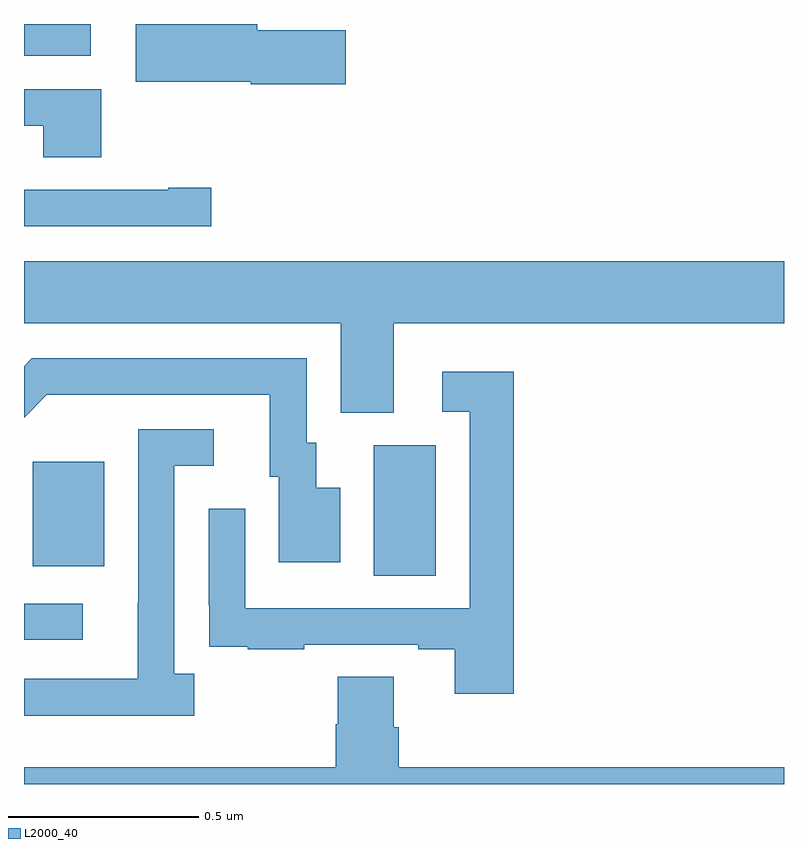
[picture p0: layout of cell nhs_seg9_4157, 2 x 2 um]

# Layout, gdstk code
import gdstk
lib = gdstk.Library(unit=1e-6, precision=1e-09)
def R(c, l, rs):  # rectangles x0, y0, x1, y1
    for r in rs: c.add(gdstk.rectangle(r[:2], r[2:], *l))
def P(c, l, *ps):  # polygons
    for p in ps: c.add(gdstk.Polygon(p, *l))
L2000_40 = (2000, 40)

nhs_seg9_4157 = lib.new_cell('nhs_seg9_4157')
R(nhs_seg9_4157, L2000_40, [(162,1236.879,162.154,1236.975), (162.92,1237.048,163.084,1237.392), (162.023,1237.073,162.211,1237.348), (162,1238.417,162.175,1238.5)])
P(nhs_seg9_4157, L2000_40, [(162.847,1238.483),(162.614,1238.483),(162.614,1238.5),(162.294,1238.5),(162.294,1238.348),(162.597,1238.348),(162.597,1238.341),(162.847,1238.341)],
  [(162.203,1238.328),(162,1238.328),(162,1238.232),(162.05,1238.232),(162.05,1238.149),(162.203,1238.149)],
  [(162.493,1238.069),(162.38,1238.069),(162.38,1238.064),(162,1238.064),(162,1237.968),(162.493,1237.968)],
  [(162.973,1237.712),(164,1237.712),(164,1237.876),(162,1237.876),(162,1237.712),(162.833,1237.712),(162.833,1237.477),(162.973,1237.477)],
  [(162.832,1237.279),(162.769,1237.279),(162.769,1237.398),(162.744,1237.398),(162.744,1237.62),(162.02,1237.62),(162,1237.6),(162,1237.464),(162.06,1237.524),(162.647,1237.524),(162.647,1237.308),(162.671,1237.308),(162.671,1237.083),(162.832,1237.083)],
  [(163.289,1237.585),(163.101,1237.585),(163.101,1237.479),(163.173,1237.479),(163.173,1236.963),(162.582,1236.963),(162.582,1237.225),(162.486,1237.225),(162.486,1236.97),(162.487,1236.97),(162.487,1236.861),(162.589,1236.861),(162.589,1236.855),(162.737,1236.855),(162.737,1236.867),(163.037,1236.867),(163.037,1236.855),(163.133,1236.855),(163.133,1236.738),(163.289,1236.738)],
  [(162.448,1236.79),(162.396,1236.79),(162.396,1237.338),(162.499,1237.338),(162.499,1237.434),(162.3,1237.434),(162.3,1236.977),(162.299,1236.977),(162.299,1236.777),(162,1236.777),(162,1236.68),(162.448,1236.68)],
  [(164,1236.544),(162.986,1236.544),(162.986,1236.65),(162.973,1236.65),(162.973,1236.782),(162.826,1236.782),(162.826,1236.657),(162.821,1236.657),(162.821,1236.544),(162,1236.544),(162,1236.5),(164,1236.5)])

lib.write_gds('nhs_seg9_4157.gds')
